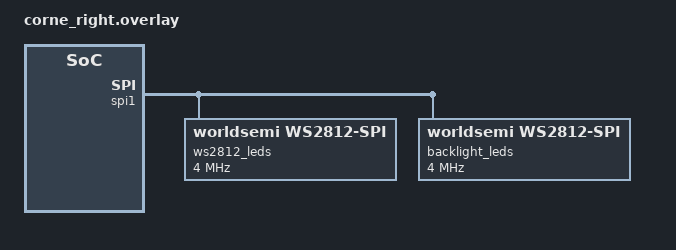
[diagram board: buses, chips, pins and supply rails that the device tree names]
/ {
    chosen {
        zmk,underglow = &ws2812_leds;
        zmk,backlight = &backlight_leds {};
    };
};

&spi1 {
    status = "okay";

    ws2812_leds: led_strip {
        compatible = "worldsemi,ws2812-spi";
        chain-length = <6>;  // Adjust this for underglow LEDs
        spi-max-frequency = <4000000>;
    };

    backlight_leds: led_strip {
        compatible = "worldsemi,ws2812-spi";
        chain-length = <21>;
        spi-max-frequency = <4000000>;
    
        zmk,backlight;
    };

};
